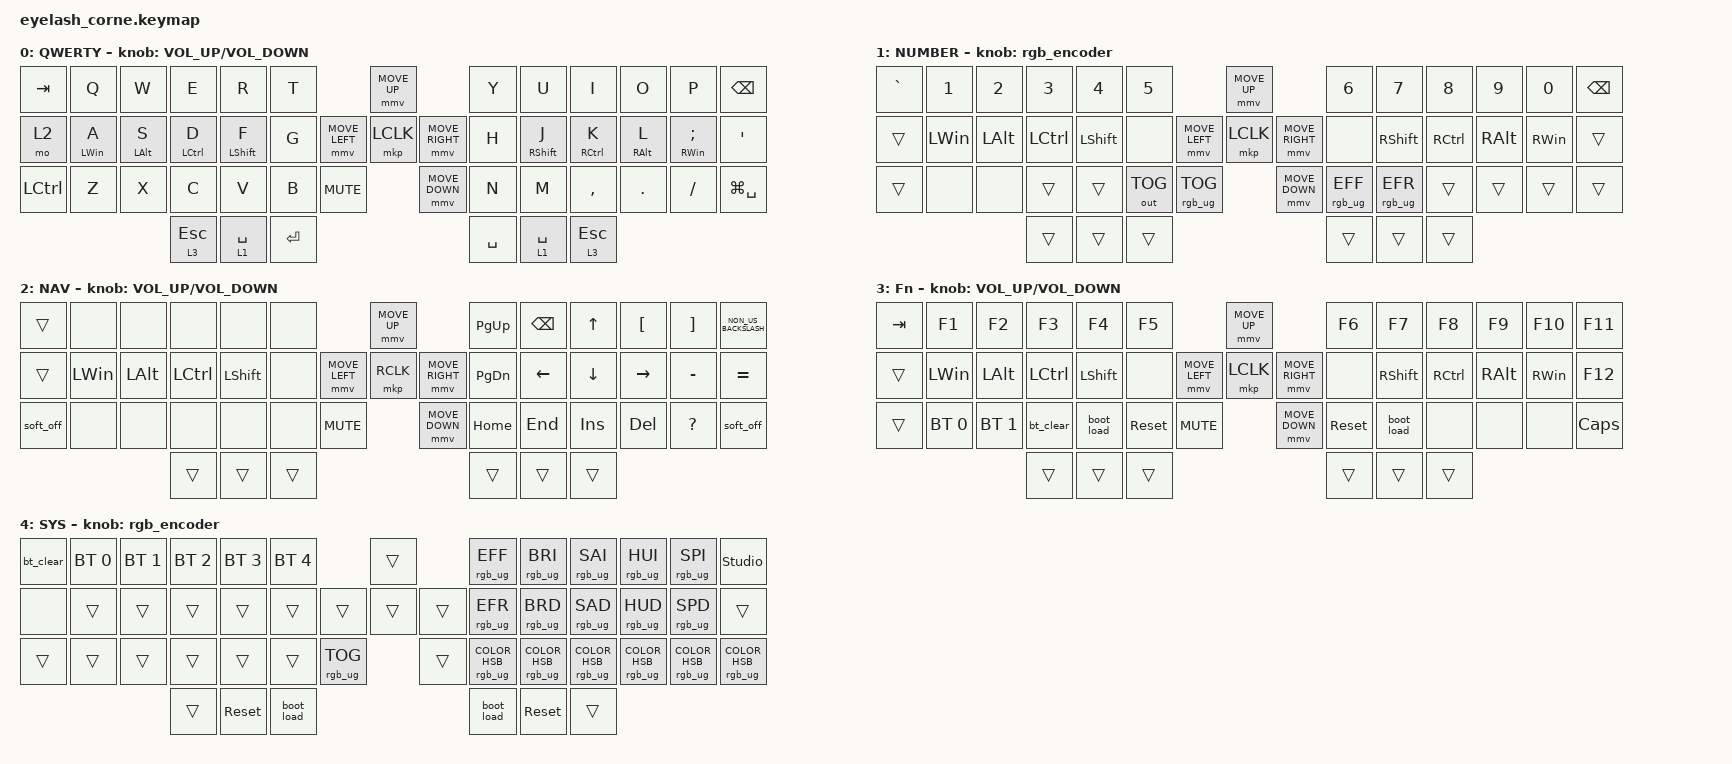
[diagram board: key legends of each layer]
#define ZMK_POINTING_DEFAULT_MOVE_VAL 1200  // 600
#define ZMK_POINTING_DEFAULT_SCRL_VAL 25   // 10

#include <input/processors.dtsi>
#include <zephyr/dt-bindings/input/input-event-codes.h>
#include <behaviors.dtsi>
#include <dt-bindings/zmk/bt.h>
#include <dt-bindings/zmk/keys.h>
#include <dt-bindings/zmk/outputs.h>
#include <dt-bindings/zmk/pointing.h>
#include <dt-bindings/zmk/rgb.h>

&mmv_input_listener { input-processors = <&zip_xy_scaler 2 1>; };

&msc_input_listener { input-processors = <&zip_scroll_scaler 2 1>; };

&msc {
    acceleration-exponent = <1>;      // 0
    time-to-max-speed-ms = <100>;       // 300
    delay-ms = <0>;                   // 0
};

&mmv {
    time-to-max-speed-ms = <500>;
    acceleration-exponent = <1>;
    trigger-period-ms = <16>;
};

/ {
    behaviors {
        hm_s_l: hm_s_l {
            compatible = "zmk,behavior-hold-tap";
            label = "HM_S_L";
            bindings = <&kp>, <&kp>;

            #binding-cells = <2>;
            flavor = "balanced";
            tapping-term-ms = <200>;
            quick-tap-ms = <150>;
            require-prior-idle-ms = <120>;
            hold-trigger-key-positions = <36 37 38 7 8 9 10 11 22 23 39 40 41 12 44 43 42 45 46 47 24 25 26 27 13>;
        };

        hm_s_r: hm_s_r {
            compatible = "zmk,behavior-hold-tap";
            label = "HM_S_R";
            bindings = <&kp>, <&kp>;

            #binding-cells = <2>;
            flavor = "balanced";
            tapping-term-ms = <200>;
            quick-tap-ms = <150>;
            require-prior-idle-ms = <120>;
            hold-trigger-key-positions = <0 1 2 3 4 5 13 14 15 16 17 28 29 18 30 32 31 33 44 43 42 45 46 47>;
        };

        hm_l: hm_l {
            compatible = "zmk,behavior-hold-tap";
            label = "HM_L";
            bindings = <&kp>, <&kp>;

            #binding-cells = <2>;
            flavor = "balanced";
            tapping-term-ms = <240>;
            quick-tap-ms = <175>;
            require-prior-idle-ms = <148>;
            hold-trigger-key-positions = <36 37 38 7 8 9 10 11 22 23 39 40 41 12 42 43 44 45 46 47 24 25 26 27 13>;
            hold-trigger-on-release;
        };

        hm_r: hm_r {
            compatible = "zmk,behavior-hold-tap";
            label = "HM_R";
            bindings = <&kp>, <&kp>;

            #binding-cells = <2>;
            flavor = "balanced";
            tapping-term-ms = <240>;
            quick-tap-ms = <175>;
            require-prior-idle-ms = <150>;
            hold-trigger-on-release;
            hold-trigger-key-positions = <0 1 2 3 4 5 13 14 15 16 17 28 29 0 1 2 3 4 5 13 14 15 16 17 18 28 29 30 31 32 33 42 43 44 45 46 47>;
        };

        bt_clear: bt_clear {
            compatible = "zmk,behavior-tap-dance";
            label = "BT_CLEAR";
            #binding-cells = <0>;
            bindings = <&none>, <&none>, <&bt BT_CLR>;

            tapping-term-ms = <300>;
        };

        boot_load: boot_load {
            compatible = "zmk,behavior-tap-dance";
            display-name = "Shift/Caps Lock Tap Dance";
            #binding-cells = <0>;
            label = "BOOT_LOAD";
            bindings = <&none>, <&none>, <&bootloader>;

            tapping-term-ms = <300>;
        };
    };

    rgb_encoder: rgb_encoder {
        compatible = "zmk,behavior-sensor-rotate";
        #sensor-binding-cells = <0>;
        bindings = <&rgb_ug RGB_BRI>, <&rgb_ug RGB_BRD>;
    };

    scroll_encoder: scroll_encoder {
        compatible = "zmk,behavior-sensor-rotate";
        #sensor-binding-cells = <0>;
        bindings = <&msc SCRL_DOWN>, <&msc SCRL_UP>;

        tap-ms = <100>;
    };

    combos {
        compatible = "zmk,combos";

        force_question_mark {
            bindings = <&kp QUESTION>;
            key-positions = <17 40>;
            layers = <0>;
            require-prior-idle-ms = <(-1)>;
            timeout-ms = <150>;
        };
    };

    keymap {
        compatible = "zmk,keymap";

        default_layer {
            display-name = "QWERTY";
            bindings = <
&kp TAB    &kp Q             &kp W             &kp E          &kp R                 &kp T                                    &mmv MOVE_UP                     &kp Y      &kp U                  &kp I          &kp O              &kp P                 &kp BSPC
&mo 2      &hm_l LEFT_WIN A  &hm_l LEFT_ALT S  &hm_l LCTRL D  &hm_s_l LEFT_SHIFT F  &kp G                    &mmv MOVE_LEFT  &mkp LCLK       &mmv MOVE_RIGHT  &kp H      &hm_s_r RIGHT_SHIFT J  &hm_r RCTRL K  &hm_r RIGHT_ALT L  &hm_r RWIN SEMICOLON  &kp SQT
&kp LCTRL  &kp Z             &kp X             &kp C          &kp V                 &kp B      &kp C_MUTE                    &mmv MOVE_DOWN                   &kp N      &kp M                  &kp COMMA      &kp DOT            &kp FSLH              &kp LG(SPACE)
                                               &lt 3 ESCAPE   &lt 1 SPACE           &kp ENTER                                                                 &kp SPACE  &lt 1 SPACE            &lt 3 ESCAPE
            >;

            sensor-bindings = <&inc_dec_kp C_VOLUME_UP C_VOLUME_DOWN>;
        };

        Numbers {
            display-name = "NUMBER";
            bindings = <
&kp GRAVE  &kp N1    &kp N2        &kp N3     &kp N4     &kp N5                                           &mmv MOVE_UP                     &kp N6           &kp N7           &kp N8     &kp N9         &kp N0    &kp BSPC
&trans     &kp LWIN  &kp LEFT_ALT  &kp LCTRL  &kp LSHFT  &none                            &mmv MOVE_LEFT  &mkp LCLK       &mmv MOVE_RIGHT  &none            &kp RSHFT        &kp RCTRL  &kp RIGHT_ALT  &kp RWIN  &trans
&trans     &none     &none         &trans     &trans     &out OUT_TOG  &rgb_ug RGB_TOG                    &mmv MOVE_DOWN                   &rgb_ug RGB_EFF  &rgb_ug RGB_EFR  &trans     &trans         &trans    &trans
                                   &trans     &trans     &trans                                                                            &trans           &trans           &trans
            >;

            sensor-bindings = <&rgb_encoder>;
        };

        Navigation {
            display-name = "NAV";
            bindings = <
&trans     &none         &none     &none      &none      &none                                 &mmv MOVE_UP                     &kp PG_UP      &kp BACKSPACE  &kp UP      &kp LEFT_BRACKET  &kp RIGHT_BRACKET  &kp NON_US_BACKSLASH
&trans     &kp LEFT_WIN  &kp LALT  &kp LCTRL  &kp LSHFT  &none                 &mmv MOVE_LEFT  &mkp RCLK       &mmv MOVE_RIGHT  &kp PAGE_DOWN  &kp LEFT       &kp DOWN    &kp RIGHT         &kp MINUS          &kp EQUAL
&soft_off  &none         &none     &none      &none      &none   &kp C_MUTE                    &mmv MOVE_DOWN                   &kp HOME       &kp END        &kp INSERT  &kp DELETE        &kp QMARK          &soft_off
                                   &trans     &trans     &trans                                                                 &trans         &trans         &trans
            >;

            sensor-bindings = <&inc_dec_kp C_VOLUME_UP C_VOLUME_DOWN>;
        };

        Functional {
            display-name = "Fn";
            bindings = <
&kp TAB  &kp F1        &kp F2        &kp F3     &kp F4      &kp F5                                    &mmv MOVE_UP                     &kp F6      &kp F7      &kp F8     &kp F9         &kp F10   &kp F11
&trans   &kp LWIN      &kp LEFT_ALT  &kp LCTRL  &kp LSHFT   &none                     &mmv MOVE_LEFT  &mkp LCLK       &mmv MOVE_RIGHT  &none       &kp RSHFT   &kp RCTRL  &kp RIGHT_ALT  &kp RWIN  &kp F12
&trans   &bt BT_SEL 0  &bt BT_SEL 1  &bt_clear  &boot_load  &sys_reset  &kp C_MUTE                    &mmv MOVE_DOWN                   &sys_reset  &boot_load  &none      &none          &none     &kp CAPS
                                     &trans     &trans      &trans                                                                     &trans      &trans      &trans
            >;

            sensor-bindings = <&inc_dec_kp C_VOLUME_UP C_VOLUME_DOWN>;
        };

        System {
            bindings = <
&bt_clear  &bt BT_SEL 0  &bt BT_SEL 1  &bt BT_SEL 2  &bt BT_SEL 3  &bt BT_SEL 4                             &trans          &rgb_ug RGB_EFF                  &rgb_ug RGB_BRI                   &rgb_ug RGB_SAI                    &rgb_ug RGB_HUI                    &rgb_ug RGB_SPI                    &studio_unlock
&none      &trans        &trans        &trans        &trans        &trans                           &trans  &trans  &trans  &rgb_ug RGB_EFR                  &rgb_ug RGB_BRD                   &rgb_ug RGB_SAD                    &rgb_ug RGB_HUD                    &rgb_ug RGB_SPD                    &trans
&trans     &trans        &trans        &trans        &trans        &trans        &rgb_ug RGB_TOG            &trans          &rgb_ug RGB_COLOR_HSB(0,100,50)  &rgb_ug RGB_COLOR_HSB(54,100,50)  &rgb_ug RGB_COLOR_HSB(104,100,50)  &rgb_ug RGB_COLOR_HSB(180,100,50)  &rgb_ug RGB_COLOR_HSB(244,100,50)  &rgb_ug RGB_COLOR_HSB(295,100,50)
                                       &trans        &sys_reset    &boot_load                                               &boot_load                       &sys_reset                        &trans
            >;

            label = "SYS";
            sensor-bindings = <&rgb_encoder>;
        };
    };

    conditional_layers {
        compatible = "zmk,conditional-layers";

        Sys_activate {
            if-layers = <2 3>;
            then-layer = <4>;
        };
    };
};
